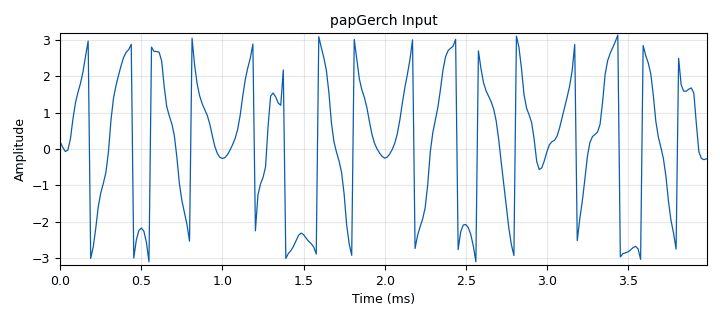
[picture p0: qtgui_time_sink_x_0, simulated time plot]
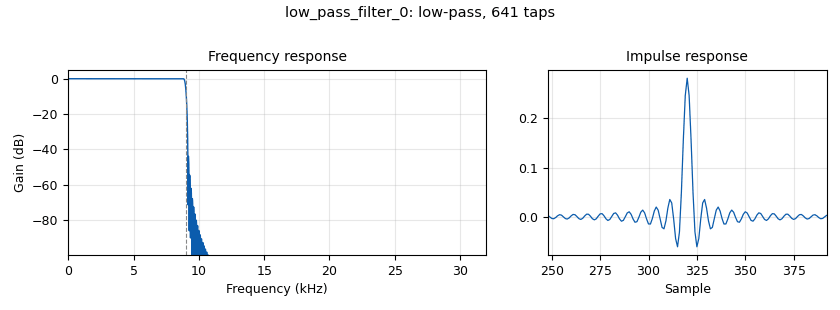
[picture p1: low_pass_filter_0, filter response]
options:
  parameters:
    generate_options: qt_gui
    id: fmDemod
    output_language: python
    title: Threshold Extension Example
  states: {}

blocks:
- name: fmSelect
  id: variable_qtgui_toggle_switch
  parameters:
    gui_hint: qtgui_tab_widget_0@0
    initPressed: 'False'
    label: FM Select
    outputmsgname: FM Mode Selector
    pressed: '1'
    released: '0'
    type: int
    value: '0'
  states: {}
- name: noiseLevel
  id: variable_qtgui_range
  parameters:
    gui_hint: qtgui_tab_widget_0@0
    label: Noise Level
    start: '0'
    step: '0.01'
    stop: '2'
    value: '0.8'
    widget: counter
  states: {}
- name: samp_rate
  id: variable
  parameters:
    value: '2048000'
  states: {}
- name: volume
  id: variable_qtgui_range
  parameters:
    gui_hint: qtgui_tab_widget_0@0
    label: volume (dB)
    start: '-100'
    step: '0.1'
    stop: '10'
    value: '-10'
  states: {}
- name: analog_fm_demod_cf_0
  id: analog_fm_demod_cf
  parameters:
    audio_decim: '1'
    audio_pass: '4000'
    audio_stop: '5000'
    chan_rate: 64e3
    deviation: '5000'
    gain: '1.0'
    tau: '75e-6'
  states: {}
- name: analog_fm_demod_cf_0_0
  id: analog_fm_demod_cf
  parameters:
    audio_decim: '1'
    audio_pass: '4000'
    audio_stop: '5000'
    chan_rate: 64e3
    deviation: '5000'
    gain: '1.0'
    tau: '75e-6'
  states: {}
- name: analog_frequency_modulator_fc_0
  id: analog_frequency_modulator_fc
  parameters:
    sensitivity: '0.4909'
  states: {}
- name: analog_noise_source_x_0
  id: analog_noise_source_x
  parameters:
    amp: noiseLevel
    noise_type: analog.GR_GAUSSIAN
    seed: '0'
    type: complex
  states: {}
- name: analog_sig_source_x_0
  id: analog_sig_source_x
  parameters:
    amp: '1'
    freq: '1000'
    offset: '0'
    phase: '0'
    samp_rate: '64000'
    type: float
    waveform: analog.GR_SIN_WAVE
  states: {}
- name: audio_sink_0
  id: audio_sink
  parameters:
    samp_rate: '48000'
  states: {}
- name: blocks_add_xx_0
  id: blocks_add_xx
  parameters:
    type: complex
  states: {}
- name: blocks_complex_to_arg_0
  id: blocks_complex_to_arg
  parameters: {}
  states: {}
- name: blocks_complex_to_arg_1
  id: blocks_complex_to_arg
  parameters: {}
  states: {}
- name: blocks_multiply_const_vxx_0
  id: blocks_multiply_const_vxx
  parameters:
    const: 10.0**(volume/20)
    type: float
  states: {}
- name: blocks_selector_0
  id: blocks_selector
  parameters:
    enabled: 'True'
    input_index: fmSelect
    num_inputs: '2'
    num_outputs: '1'
    output_index: '0'
    type: float
  states: {}
- name: logpwrfft_x_0
  id: logpwrfft_x
  parameters:
    average: 'True'
    avg_alpha: '0.002'
    fft_size: '4096'
    frame_rate: '1'
    ref_scale: '1'
    sample_rate: 64e3
    shift: 'True'
    type: float
  states: {}
- name: logpwrfft_x_0_0
  id: logpwrfft_x
  parameters:
    average: 'True'
    avg_alpha: '0.002'
    fft_size: '4096'
    frame_rate: '1'
    ref_scale: '1'
    sample_rate: 64e3
    shift: 'True'
    type: float
  states: {}
- name: low_pass_filter_0
  id: low_pass_filter
  parameters:
    cutoff_freq: 9e3
    decim: '1'
    gain: '1'
    samp_rate: 64e3
    type: fir_filter_ccf
    width: '200'
    win: window.WIN_HANN
  states: {}
- name: newFM_papGerch_0
  id: newFM_papGerch
  parameters:
    blockSize: '256'
    thresh: '0.35'
  states: {}
- name: qtgui_tab_widget_0
  id: qtgui_tab_widget
  parameters:
    label0: Tab 0
    label1: Tab 1
    label2: Tab 2
    num_tabs: '3'
  states: {}
- name: qtgui_time_sink_x_0
  id: qtgui_time_sink_x
  parameters:
    gui_hint: qtgui_tab_widget_0@1
    name: papGerch Input
    size: '256'
    srate: samp_rate*1/32
    type: float
    update_time: '0.05'
    ymax: '3.2'
    ymin: '-3.2'
  states: {}
- name: qtgui_time_sink_x_0_0
  id: qtgui_time_sink_x
  parameters:
    gui_hint: qtgui_tab_widget_0@1
    name: papGerch Output
    size: '256'
    srate: samp_rate*1/32
    type: float
    update_time: '0.05'
    ymax: '3.2'
    ymin: '-3.2'
  states: {}
- name: qtgui_vector_sink_f_0
  id: qtgui_vector_sink_f
  parameters:
    average: '0.05'
    grid: 'True'
    gui_hint: qtgui_tab_widget_0@2
    name: Demodulated FM
    nconnections: '2'
    vlen: '4096'
    x_axis_label: Frequency (Hz)
    x_start: '-32e3'
    x_step: '15.625'
    x_units: ''
    y_axis_label: Signal Level  (dB)
    y_units: ''
    ymax: '0'
    ymin: '-65'
  states: {}
- name: rational_resampler_xxx_0_0
  id: rational_resampler_xxx
  parameters:
    decim: '4'
    interp: '3'
    type: fff
  states: {}

connections:
- [analog_fm_demod_cf_0, '0', blocks_selector_0, '0']
- [analog_fm_demod_cf_0, '0', logpwrfft_x_0, '0']
- [analog_fm_demod_cf_0_0, '0', blocks_selector_0, '1']
- [analog_fm_demod_cf_0_0, '0', logpwrfft_x_0_0, '0']
- [analog_frequency_modulator_fc_0, '0', blocks_add_xx_0, '0']
- [analog_noise_source_x_0, '0', blocks_add_xx_0, '1']
- [analog_sig_source_x_0, '0', analog_frequency_modulator_fc_0, '0']
- [blocks_add_xx_0, '0', low_pass_filter_0, '0']
- [blocks_complex_to_arg_0, '0', qtgui_time_sink_x_0, '0']
- [blocks_complex_to_arg_1, '0', qtgui_time_sink_x_0_0, '0']
- [blocks_multiply_const_vxx_0, '0', audio_sink_0, '0']
- [blocks_selector_0, '0', rational_resampler_xxx_0_0, '0']
- [logpwrfft_x_0, '0', qtgui_vector_sink_f_0, '0']
- [logpwrfft_x_0_0, '0', qtgui_vector_sink_f_0, '1']
- [low_pass_filter_0, '0', analog_fm_demod_cf_0, '0']
- [low_pass_filter_0, '0', blocks_complex_to_arg_0, '0']
- [low_pass_filter_0, '0', newFM_papGerch_0, '0']
- [newFM_papGerch_0, '0', analog_fm_demod_cf_0_0, '0']
- [newFM_papGerch_0, '0', blocks_complex_to_arg_1, '0']
- [rational_resampler_xxx_0_0, '0', blocks_multiply_const_vxx_0, '0']

metadata:
  file_format: 1
  grc_version: 3.10.9.2
